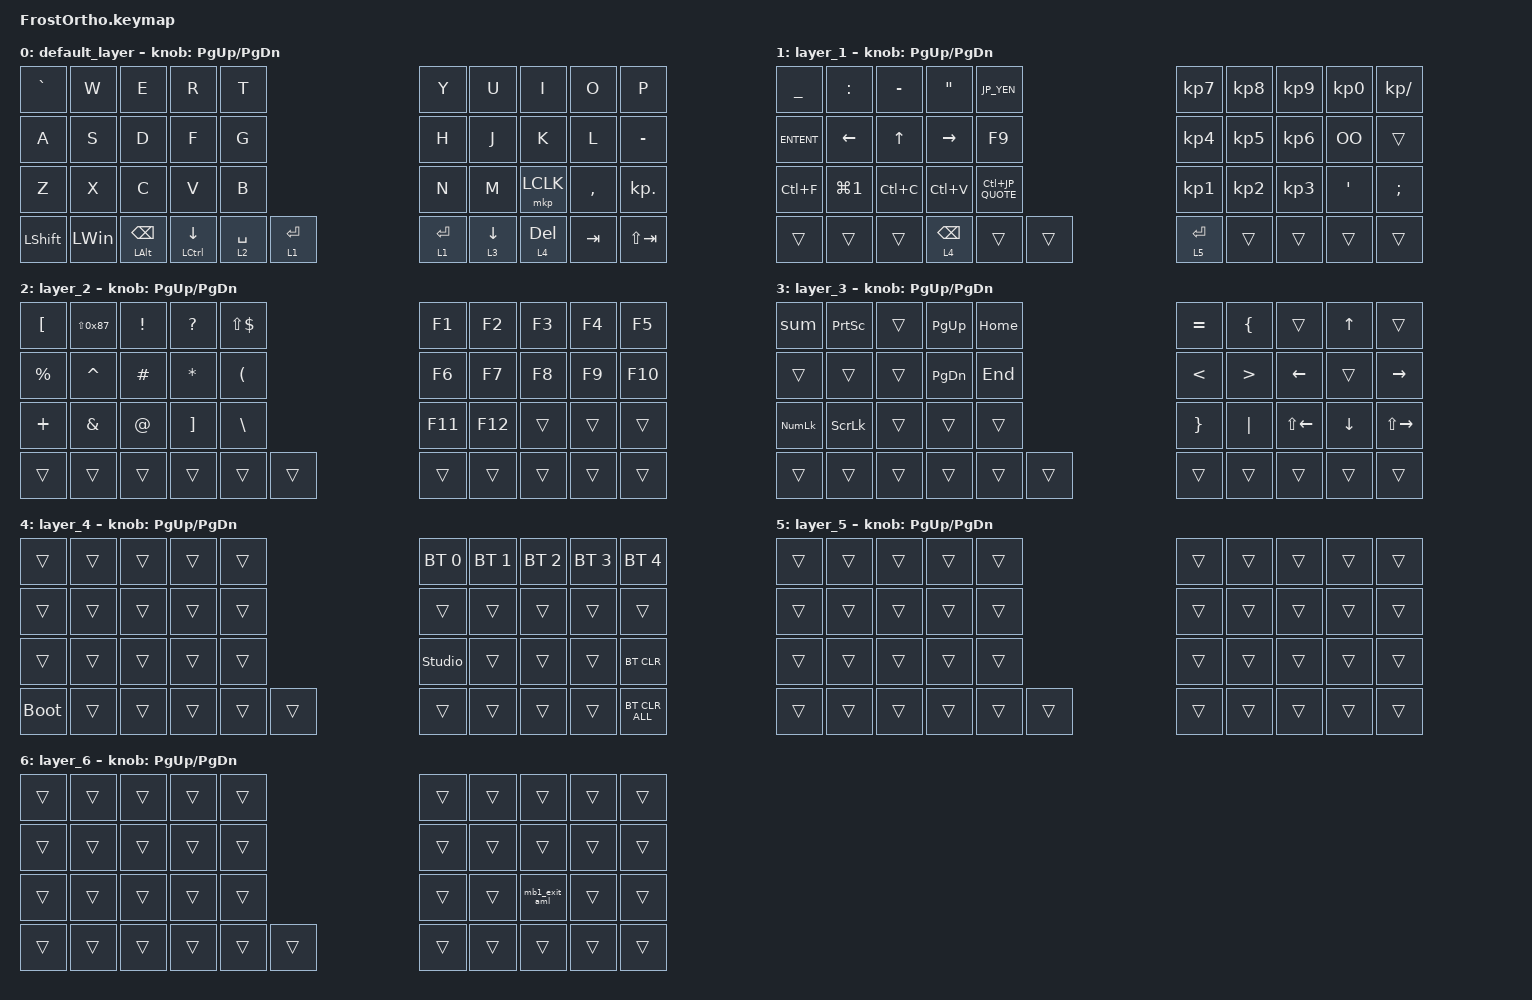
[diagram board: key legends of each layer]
#include <input/processors.dtsi>
#include <behaviors/runtime-sensor-rotate.dtsi>
#include <behaviors.dtsi>
#include <dt-bindings/zmk/bt.h>
#include <dt-bindings/zmk/keys.h>
#include <dt-bindings/zmk/pointing.h>

#define JP_DQUOTE       AT                // "
#define JP_AMPERSAND    CARET             // &
#define JP_QUOTE        AMPERSAND         // '
#define JP_EQUAL        UNDER             // =
#define JP_CARET        EQUAL             // ^
#define JP_YEN          0x89              // ¥
#define JP_PLUS         COLON             // +
#define JP_TILDE        PLUS              // ~
#define JP_PIPE         LS(0x89)          // |
#define JP_AT           LEFT_BRACKET      // @
#define JP_COLON        SINGLE_QUOTE      // :
#define JP_ASTERISK     DOUBLE_QUOTES     // *
#define JP_BACKQUOTE    LEFT_BRACE        // `
#define JP_UNDERSCORE   LS(0x87)          // _
#define JP_LBRACKET     RIGHT_BRACKET     // [
#define JP_RBRACKET     BACKSLASH         // ]
#define JP_LPAREN       ASTERISK          // (
#define JP_RPAREN       LEFT_PARENTHESIS  // )
#define JP_LBRACE       RIGHT_BRACE       // {
#define JP_RBRACE       PIPE              // }
#define JP_KANA         LANGUAGE_1        // かな
#define JP_EISU         LANGUAGE_2        // 英数
#define JP_HANZEN       GRAVE             // 半角/全角
#define ZMK_MOUSE_POINTING_SCRL_VAL 100
#define MOUSE 6

&mt {
    flavor = "balanced";
    quick-tap-ms = <0>;
};

// AML クリックしたときにタイムアウトを延長
//&mkp_input_listener { input-processors = <&zip_temp_layer MOUSE  10000>; };

&mkp_input_listener { input-processors = <&zip_temp_layer MOUSE  10000>; };

/ {
    combos {
        compatible = "zmk,combos";

        ESCAP {
            bindings = <&kp ESCAPE>;
            key-positions = <0 1>;
        };

        RIGHT1 {
            bindings = <&kp RIGHT>;
            key-positions = <17 8>;
        };

        BS {
            bindings = <&kp BACKSPACE>;
            key-positions = <16 7>;
        };

        MO1 {
            bindings = <&tog 1>;
            key-positions = <5 6>;
            layers = <0>;
        };

        MO0 {
            bindings = <&tog 1>;
            key-positions = <5 6>;
            layers = <1>;
        };

        MOO5 {
            bindings = <&mo 5>;
            key-positions = <9 8>;
        };

        DELL1 {
            bindings = <&kp DEL>;
            key-positions = <13 2>;
        };

        MBB1 {
            bindings = <&mkp LCLK>;
            key-positions = <16 17>;
        };

        MBB2 {
            bindings = <&mkp MB2>;
            key-positions = <17 18>;
        };

        CAPS1 {
            bindings = <&kp LS(CAPSLOCK)>;
            key-positions = <13 14>;
        };

        KANAKANA {
            bindings = <&kp JP_HANZEN>;
            key-positions = <3 4>;
        };
    };

    macros {
        to_layer_0: to_layer_0 {
            compatible = "zmk,behavior-macro-one-param";
            #binding-cells = <1>;
            bindings = <&to 0 &macro_param_1to1 &kp MACRO_PLACEHOLDER>;
            label = "TO_LAYER_0";
        };

        OO: OO {
            compatible = "zmk,behavior-macro";
            #binding-cells = <0>;
            bindings = <&kp KP_NUMBER_0 &kp NUMBER_0>;
            label = "OO";
        };

        ENTENT: ENTENT {
            compatible = "zmk,behavior-macro";
            #binding-cells = <0>;
            bindings = <&kp ENTER &kp ENTER &kp ENTER &kp ENTER &kp ENTER &kp ENTER &kp ENTER>;
            label = "ENTENT";
        };

        sum: sum {
            compatible = "zmk,behavior-macro";
            #binding-cells = <0>;
            bindings = <&kp LA(LC(S)) &kp U &kp M>;
            label = "SUM";
        };

        mb1_exit_aml: mb1_exit_aml {
            compatible = "zmk,behavior-macro";
            #binding-cells = <0>;
            bindings = <&mkp LCLK>, <&macro_wait_time 30>, <&tog MOUSE>;

            label = "MB1_EXIT_AML";
        };

        CAPSM: capsm {
            compatible = "zmk,behavior-macro";
            #binding-cells = <0>;
            bindings = <&kp LS(CAPS)>;
        };
    };

    behaviors {
        lt_to_layer_0: lt_to_layer_0 {
            compatible = "zmk,behavior-hold-tap";
            label = "LAYER_TAP_TO_0";
            bindings = <&mo>, <&to_layer_0>;

            #binding-cells = <2>;
            tapping-term-ms = <300>;
        };

        scroll_up_down: behavior_sensor_rotate_mouse_wheel_up_down {
            compatible = "zmk,behavior-sensor-rotate";
            #sensor-binding-cells = <0>;
            bindings = <&msc SCRL_DOWN>, <&msc SCRL_UP>;

            tap-ms = <20>;
        };

        vol_up_down: vol_up_down {
            compatible = "zmk,behavior-sensor-rotate";
            #sensor-binding-cells = <0>;
            tap-ms = <5>;
            bindings = <&kp C_VOL_DN>, <&kp C_VOL_UP>;
        };

        // DYA Studio用

        rsr_vol: rsr_vol {
            compatible = "zmk,behavior-runtime-sensor-rotate";
            #sensor-binding-cells = <0>;
            tap-ms = <5>;
            cw-binding = <&kp C_VOL_DN>;
            ccw-binding = <&kp C_VOL_UP>;
        };
    };

    keymap {
        compatible = "zmk,keymap";

        default_layer {
            bindings = <
&kp JP_HANZEN   &kp W         &kp E                   &kp R                  &kp T                         &kp Y        &kp U       &kp I         &kp O      &kp P
&kp A           &kp S         &kp D                   &kp F                  &kp G                         &kp H        &kp J       &kp K         &kp L      &kp MINUS
&kp Z           &kp X         &kp C                   &kp V                  &kp B                         &kp N        &kp M       &mkp LCLK     &kp COMMA  &kp KP_DOT
&kp LEFT_SHIFT  &kp LEFT_WIN  &mt LEFT_ALT BACKSPACE  &mt LEFT_CONTROL DOWN  &lt 2 SPACE  &lt 1 ENTER      &lt 1 ENTER  &lt 3 DOWN  &lt 4 DELETE  &kp TAB    &kp LS(TAB)
            >;

            sensor-bindings = <&inc_dec_kp PG_UP PAGE_DOWN>;
        };

        layer_1 {
            bindings = <
&kp JP_EQUAL  &kp JP_PLUS       &kp MINUS  &kp JP_ASTERISK  &kp JP_YEN                    &kp KP_NUMBER_7  &kp KP_NUMBER_8  &kp KP_NUMBER_9  &kp KP_NUMBER_0  &kp KP_SLASH
&ENTENT       &kp LEFT          &kp UP     &kp RIGHT        &kp F9                        &kp KP_NUMBER_4  &kp KP_NUMBER_5  &kp KP_NUMBER_6  &OO              &trans
&kp LC(F)     &kp LG(NUMBER_1)  &kp LC(C)  &kp LC(V)        &kp LC(JP_QUOTE)              &kp KP_NUMBER_1  &kp KP_NUMBER_2  &kp KP_NUMBER_3  &kp JP_COLON     &kp SEMI
&trans        &trans            &trans     &lt 4 BACKSPACE  &trans            &trans      &lt 5 ENTER      &trans           &trans           &trans           &trans
            >;

            sensor-bindings = <&inc_dec_kp PG_UP PAGE_DOWN>;
        };

        layer_2 {
            bindings = <
&kp JP_AT     &kp JP_UNDERSCORE  &kp EXCLAMATION  &kp QUESTION     &kp LS(DOLLAR)               &kp F1   &kp F2   &kp F3  &kp F4  &kp F5
&kp PERCENT   &kp JP_AMPERSAND   &kp HASH         &kp JP_LPAREN    &kp JP_RPAREN                &kp F6   &kp F7   &kp F8  &kp F9  &kp F10
&kp JP_TILDE  &kp JP_QUOTE       &kp JP_DQUOTE    &kp JP_LBRACKET  &kp JP_RBRACKET              &kp F11  &kp F12  &trans  &trans  &trans
&trans        &trans             &trans           &trans           &trans           &trans      &trans   &trans   &trans  &trans  &trans
            >;

            sensor-bindings = <&inc_dec_kp PG_UP PAGE_DOWN>;
        };

        layer_3 {
            bindings = <
&sum            &kp PSCRN       &trans  &kp PAGE_UP    &kp HOME              &kp JP_CARET   &kp JP_BACKQUOTE  &trans        &kp UP    &trans
&trans          &trans          &trans  &kp PAGE_DOWN  &kp END               &kp LESS_THAN  &kp GREATER_THAN  &kp LEFT      &trans    &kp RIGHT
&kp KP_NUMLOCK  &kp SCROLLLOCK  &trans  &trans         &trans                &kp JP_LBRACE  &kp JP_RBRACE     &kp LS(LEFT)  &kp DOWN  &kp LS(RIGHT)
&trans          &trans          &trans  &trans         &trans    &trans      &trans         &trans            &trans        &trans    &trans
            >;

            sensor-bindings = <&inc_dec_kp PG_UP PAGE_DOWN>;
        };

        layer_4 {
            bindings = <
&trans       &trans  &trans  &trans  &trans              &bt BT_SEL 0    &bt BT_SEL 1  &bt BT_SEL 2  &bt BT_SEL 3  &bt BT_SEL 4
&trans       &trans  &trans  &trans  &trans              &trans          &trans        &trans        &trans        &trans
&trans       &trans  &trans  &trans  &trans              &studio_unlock  &trans        &trans        &trans        &bt BT_CLR
&bootloader  &trans  &trans  &trans  &trans  &trans      &trans          &trans        &trans        &trans        &bt BT_CLR_ALL
            >;

            sensor-bindings = <&inc_dec_kp PG_UP PAGE_DOWN>;
        };

        layer_5 {
            bindings = <
&trans  &trans  &trans  &trans  &trans              &trans  &trans  &trans  &trans  &trans
&trans  &trans  &trans  &trans  &trans              &trans  &trans  &trans  &trans  &trans
&trans  &trans  &trans  &trans  &trans              &trans  &trans  &trans  &trans  &trans
&trans  &trans  &trans  &trans  &trans  &trans      &trans  &trans  &trans  &trans  &trans
            >;

            sensor-bindings = <&inc_dec_kp PG_UP PAGE_DOWN>;
        };

        layer_6 {
            bindings = <
&trans  &trans  &trans  &trans  &trans              &trans  &trans  &trans         &trans  &trans
&trans  &trans  &trans  &trans  &trans              &trans  &trans  &trans         &trans  &trans
&trans  &trans  &trans  &trans  &trans              &trans  &trans  &mb1_exit_aml  &trans  &trans
&trans  &trans  &trans  &trans  &trans  &trans      &trans  &trans  &trans         &trans  &trans
            >;

            sensor-bindings = <&inc_dec_kp PG_UP PAGE_DOWN>;
        };
    };
};
